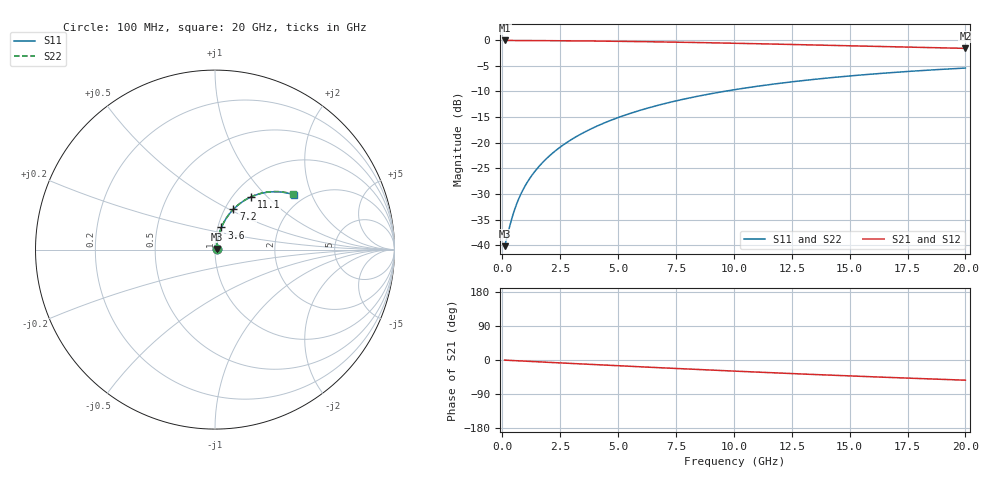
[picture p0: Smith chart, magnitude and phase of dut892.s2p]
! Touchstone file exported from HFSS 2026.1.0
!  File:  C:/ffzhzh/LocalFiles/Ansys_Project_Files/temp_train_BSMRDL_892_1783171240_22436.aedt
!  Generated:  09:21:52 PM Jul  4, 2026
!  Design:  BSMRDL
!  Project:  temp_train_BSMRDL_892_1783171240_22436
! Variables:
!  h_bsmrdl = 2.17um
!  h_ox = 20um
!  h_rdl = 5um
!  h_sub = 80um
!  h_tmrdl = 5um
!  h_tsv = 80um
!  h_via = 3um
!  l_bsmrdl = 769.68um
!  l_sub = 1169.68um
!  l_tmrdl = 200um
!  m_sub = 200um
!  pitch = 41.31um
!  r_tsv = 6um
!  s_tmrdl = 10um
!  w_bsmrdl = 13.91um
!  w_sub = 500um
!  w_tmrdl = 12um
!  x_tsv_center1 = 206um
!  x_tsv_center2 = 989.59um
!  x_tsv_center3 = 1201.59um
!  x_tsv_center4 = 1985.18um
!  x_tsv_center5 = 2197.18um
!  x_tsv_center6 = 2980.77um
# GHz S MA R 50.000000
! Terminal data exported
! Port[1] = BSM_RDL1_1_T1
! Port[2] = BSM_RDL1_1_T2
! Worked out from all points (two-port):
!   200 points, 100 MHz to 20 GHz, reference 50 ohm
!   highest |S21| = -0.08 dB at 100 MHz (marker M1); lowest = -1.6 dB at 20 GHz (marker M2)
!   |S21| within 3 dB of the highest: start of sweep to end of sweep
!   lowest |S11| = -40.1 dB at 100 MHz (marker M3), VSWR 1.02, Z = 50.9 + j0.387 ohm
!   |S11| at or under -10 dB: start of sweep to 9.58 GHz
!   |S22| runs from -40.1 to -5.5 dB; largest |S21 - S12| = 5.3e-15
!   S11 on the Smith chart (normalised r, x): 100 MHz: 1.02, +0.01; 3.6 GHz: 1.04, +0.26; 7.2 GHz: 1.10, +0.52; 11.1 GHz: 1.21, +0.81; 20 GHz: 1.75, +1.49
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0.1  0.009832 22.7  0.9909 -0.3  0.9909 -0.3  0.009832 22.7
! Gamma 0 0 0 0
! Port Impedance 50 0 50 0
0.4  0.01791 57.1  0.9905 -1.3  0.9905 -1.3  0.01791 57.1
0.6  0.02465 64.8  0.99 -1.9  0.99 -1.9  0.02465 64.8
0.7  0.02809 67.1  0.9898 -2.2  0.9898 -2.2  0.02809 67.2
0.9  0.03502 70.2  0.9892 -2.8  0.9892 -2.8  0.03501 70.2
1.2  0.04542 72.8  0.9885 -3.7  0.9885 -3.7  0.04542 72.8
1.4  0.05237 73.8  0.9879 -4.3  0.9879 -4.3  0.05236 73.8
1.7  0.06279 74.7  0.9871 -5.3  0.9871 -5.3  0.06279 74.7
2.2  0.08018 75.2  0.9856 -6.8  0.9856 -6.8  0.08017 75.2
2.8  0.101 74.9  0.9835 -8.6  0.9835 -8.6  0.101 75.0
3.5  0.1251 74.0  0.9806 -10.7  0.9806 -10.7  0.1251 74.0
3.6  0.1285 73.8  0.9801 -11.0  0.9801 -11.0  0.1285 73.8
4.3  0.1523 72.4  0.9765 -13.1  0.9765 -13.1  0.1523 72.5
5  0.1758 70.9  0.9724 -15.1  0.9724 -15.1  0.1758 71.0
6.8  0.2339 66.5  0.9597 -20.4  0.9597 -20.4  0.2339 66.6
7.2  0.2463 65.5  0.9565 -21.5  0.9565 -21.5  0.2463 65.6
8.6  0.2883 61.9  0.9444 -25.5  0.9444 -25.5  0.2883 62.0
10.1  0.3305 58.0  0.9302 -29.6  0.9302 -29.6  0.3305 58.2
11.1  0.357 55.5  0.9202 -32.2  0.9202 -32.2  0.3569 55.6
13.4  0.4126 49.8  0.8963 -38.1  0.8963 -38.1  0.4125 50.0
16.7  0.48 42.1  0.8619 -46.0  0.8619 -46.0  0.4799 42.3
20  0.5338 34.9  0.8298 -53.3  0.8298 -53.3  0.5338 35.2
